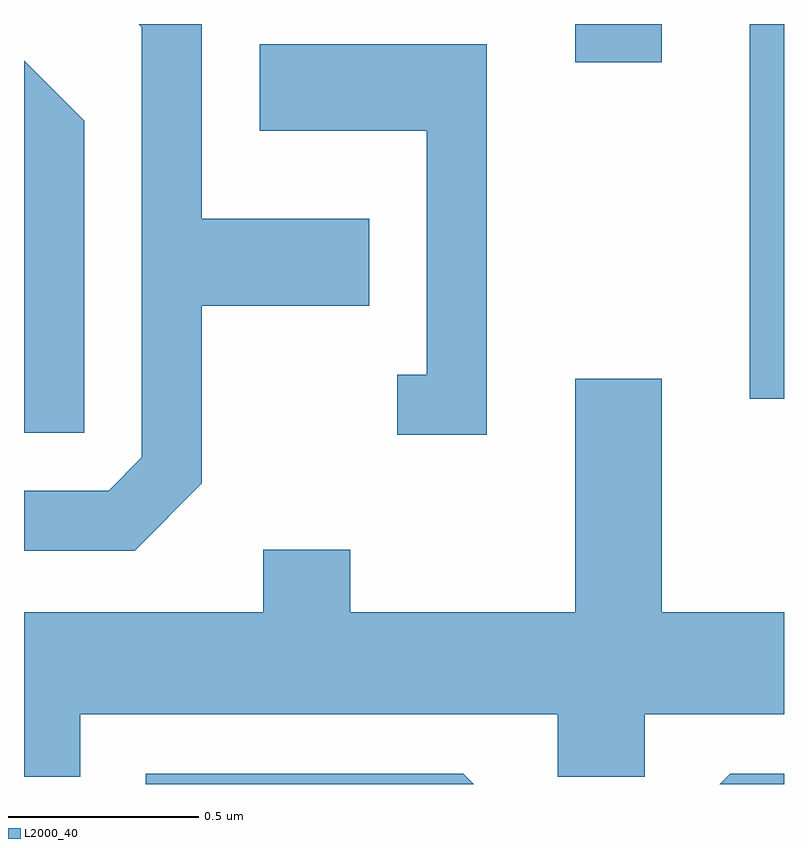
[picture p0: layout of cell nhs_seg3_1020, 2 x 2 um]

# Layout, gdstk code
import gdstk
lib = gdstk.Library(unit=1e-6, precision=1e-09)
def R(c, l, rs):  # rectangles x0, y0, x1, y1
    for r in rs: c.add(gdstk.rectangle(r[:2], r[2:], *l))
def P(c, l, *ps):  # polygons
    for p in ps: c.add(gdstk.Polygon(p, *l))
L2000_40 = (2000, 40)

nhs_seg3_1020 = lib.new_cell('nhs_seg3_1020')
R(nhs_seg3_1020, L2000_40, [(194.521,1177.906,194.611,1178.892), (194.061,1178.791,194.289,1178.892)])
P(nhs_seg3_1020, L2000_40, [(193.079,1177.684),(193.079,1178.151),(193.519,1178.151),(193.519,1178.379),(193.079,1178.379),(193.079,1178.892),(192.913,1178.892),(192.921,1178.884),(192.921,1177.752),(192.834,1177.664),(192.611,1177.664),(192.611,1177.506),(192.902,1177.506)],
  [(193.829,1178.839),(193.231,1178.839),(193.231,1178.611),(193.671,1178.611),(193.671,1177.969),(193.593,1177.969),(193.593,1177.811),(193.829,1177.811)],
  [(192.769,1178.637),(192.611,1178.795),(192.611,1177.816),(192.769,1177.816)],
  [(192.759,1177.076),(194.016,1177.076),(194.016,1176.911),(194.244,1176.911),(194.244,1177.076),(194.611,1177.076),(194.611,1177.344),(194.289,1177.344),(194.289,1177.959),(194.061,1177.959),(194.061,1177.344),(193.469,1177.344),(193.469,1177.509),(193.241,1177.509),(193.241,1177.344),(192.611,1177.344),(192.611,1176.911),(192.759,1176.911)],
  [(194.611,1176.919),(194.469,1176.919),(194.442,1176.892),(194.611,1176.892)],
  [(193.767,1176.919),(192.931,1176.919),(192.931,1176.892),(193.794,1176.892)])

lib.write_gds('nhs_seg3_1020.gds')
